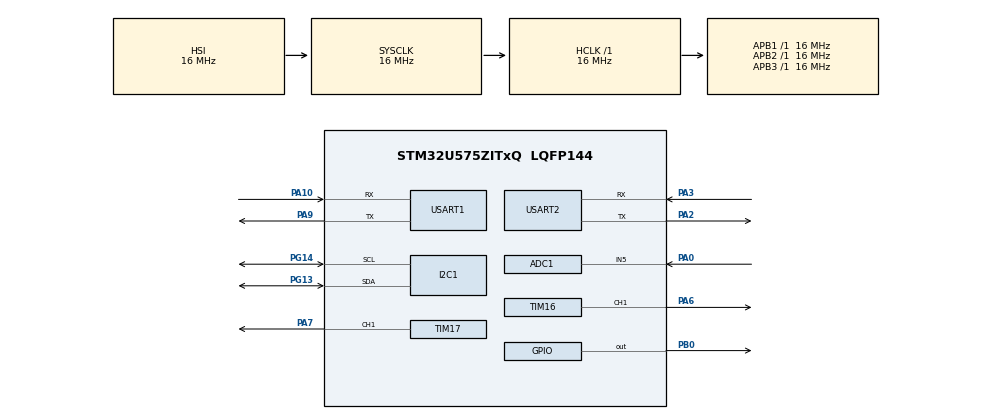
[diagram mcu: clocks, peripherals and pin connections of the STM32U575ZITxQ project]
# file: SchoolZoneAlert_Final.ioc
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ADC1.ContinuousConvMode=ENABLE
ADC1.NbrOfConversion=1
ADC1.Resolution=ADC_RESOLUTION_12B
ADC1.master=1
CORTEX_M33_NS.userName=CORTEX_M33
GPDMA1.RECAP_GPDMACH0=USART1_RX
GPDMA1.RECAP_GPDMACH1=USART1_TX
I2C1.Timing=0x00303D5B
Mcu.Family=STM32U5
Mcu.Name=STM32U575ZITxQ
Mcu.Package=LQFP144
NETXDUO.NX_DRIVER_DEFERRED_PROCESSING=true
NVIC.I2C1_ER_IRQn=true\:0\:0\:false\:false\:true\:false\:true\:true\:true
NVIC.I2C1_EV_IRQn=true\:0\:0\:false\:false\:true\:false\:true\:true\:true
NVIC.PriorityGroup=NVIC_PRIORITYGROUP_4
NVIC.TIM6_IRQn=true\:15\:0\:false\:false\:true\:false\:false\:true\:true
NVIC.TimeBase=TIM6_IRQn
NVIC.TimeBaseIP=TIM6
NVIC.USART1_IRQn=true\:0\:0\:false\:false\:true\:false\:true\:true\:true
NVIC.USART2_IRQn=true\:0\:0\:false\:false\:true\:false\:true\:true\:true
PA0.Mode=IN5-Single-Ended
PA0.Signal=ADC1_IN5
PA10.Mode=Asynchronous
PA10.Signal=USART1_RX
PA2.Mode=Asynchronous
PA2.Signal=USART2_TX
PA3.Mode=Asynchronous
PA3.Signal=USART2_RX
PA6.Signal=S_TIM16_CH1
PA7.Signal=S_TIM17_CH1
PA9.Mode=Asynchronous
PA9.Signal=USART1_TX
PB0.Signal=GPIO_Output
PG13.Mode=I2C
PG13.Signal=I2C1_SDA
PG14.Mode=I2C
PG14.Signal=I2C1_SCL
PWR.PowerMode=PWR_SMPS_SUPPLY
ProjectManager.HeapSize=0x200
ProjectManager.StackSize=0x400
ProjectManager.TargetToolchain=STM32CubeIDE
RCC.ADCFreq_Value=16000000
RCC.AHBFreq_Value=16000000
RCC.APB1Freq_Value=16000000
RCC.APB1TimFreq_Value=16000000
RCC.APB2Freq_Value=16000000
RCC.APB2TimFreq_Value=16000000
RCC.APB3Freq_Value=16000000
RCC.CortexFreq_Value=16000000
RCC.EPOD_VALUE=4000000
RCC.HCLKFreq_Value=16000000
RCC.HSE_VALUE=16000000
RCC.HSI48_VALUE=48000000
RCC.HSI_VALUE=16000000
RCC.I2C1CLockSelection=RCC_I2C1CLKSOURCE_SYSCLK
RCC.LSE_VALUE=32768
RCC.LSIDIV_VALUE=32000
RCC.MSI_VALUE=4000000
RCC.SYSCLKFreq_VALUE=16000000
RCC.SYSCLKSource=RCC_SYSCLKSOURCE_HSI
RCC.USART1CLockSelectionVirtual=RCC_USART1CLKSOURCE_HSI
RCC.USBFreq_Value=48000000
RCC.VCOOutputFreq_Value=516000000
SH.S_TIM16_CH1.0=TIM16_CH1,PWM Generation1 CH1
SH.S_TIM17_CH1.0=TIM17_CH1,PWM Generation1 CH1
TIM16.Channel=TIM_CHANNEL_1
TIM17.Channel=TIM_CHANNEL_1
USART1.VirtualMode-Asynchronous=VM_ASYNC
USART2.VirtualMode-Asynchronous=VM_ASYNC
VP_CRC_VS_CRC.Mode=CRC_Activate
VP_GPDMA1_VS_GPDMACH0.Mode=SIMPLEREQUEST_GPDMACH0
VP_GPDMA1_VS_GPDMACH1.Mode=SIMPLEREQUEST_GPDMACH1
VP_ICACHE_VS_ENABLE_ICACHE_MEMORY.Mode=Memoryregions
VP_ICACHE_VS_ICACHE.Mode=DirectMappedCache
VP_LPBAMQUEUE_VS_QUEUE.Mode=QUEUEMODE
VP_MEMORYMAP_VS_MEMORYMAP.Mode=CurAppReg
VP_NETXDUO_VS_CustomOoInterface.Mode=Custom_Interface
VP_NETXDUO_VS_NXOoCore.Mode=NX_Core
VP_PWR_VS_LPOM.Mode=PowerOptimisation
VP_PWR_VS_SECSignals.Mode=Security/Privilege
VP_PWR_Vdda.Mode=isolationVdda
VP_SYS_VS_tim6.Mode=TIM6
VP_THREADX_VS_RTOSJjThreadXJjCoreJjDefault.Mode=Core_Default
VP_TIM16_VS_ClockSourceINT.Mode=Enable_Timer
VP_TIM17_VS_ClockSourceINT.Mode=Enable_Timer
board=custom

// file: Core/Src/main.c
/* USER CODE BEGIN Header */
/**
  ******************************************************************************
  * @file           : main.c
  * @brief          : Main program body
  ******************************************************************************
  */
/* USER CODE END Header */
#include "app_threadx.h"
#include "main.h"
#include "adc.h"
#include "crc.h"
#include "gpdma.h"
#include "i2c.h"
#include "icache.h"
#include "memorymap.h"
#include "tim.h"
#include "usart.h"
#include "gpio.h"
#include "network.h"
#include "ec25.h"
#include <stdio.h>

/* USER CODE BEGIN PV */
uint32_t adc_raw_value = 0;
uint32_t high_to_low_counter = 0;
uint8_t last_adc_state = 0;  // 0 = LOW, 1 = HIGH
const uint32_t ADC_THRESHOLD = 2000;  // Tune threshold per voltage input
/* USER CODE END PV */

void SystemClock_Config(void);
static void SystemPower_Config(void);

/* USER CODE BEGIN 0 */

/* Redirect printf to USART1 */
int _write(int file, char *ptr, int len)
{
  HAL_UART_Transmit(&huart1, (uint8_t *)ptr, len, HAL_MAX_DELAY);
  return len;
}
/* USER CODE END 0 */

int main(void)
{

  /* MCU Configuration--------------------------------------------------------*/

  /* Reset of all peripherals, Initializes the Flash interface and the Systick. */
  HAL_Init();

  /* Configure the System Power */
  SystemPower_Config();

  /* Configure the system clock */
  SystemClock_Config();

  /* Initialize all configured peripherals */
  MX_GPIO_Init();
  MX_GPDMA1_Init();
  MX_USART1_UART_Init();
  MX_CRC_Init();
  MX_I2C1_Init();
  MX_TIM16_Init();
  MX_TIM17_Init();
  MX_ICACHE_Init();
  MX_ADC1_Init();
  MX_USART2_UART_Init();
  /* USER CODE BEGIN 2 */
  HAL_Delay(100);  // COM port init delay for USB VCP

  printf("✅ System initialised.\r\n");

  printf("🌐 Network stack initialised.\r\n");

  char debug_msg[] = "USART test message BEFORE ThreadX start\r\n";
  HAL_UART_Transmit(&huart1, (uint8_t *)debug_msg, sizeof(debug_msg) - 1, HAL_MAX_DELAY);

  HAL_Delay(100);

  // Now start ThreadX
  //MX_ThreadX_Init();

  Init_EC25();            // Custom function to send AT+CFUN, AT+CGDCONT, etc.
  Send_UDP_Trigger();

  /* Infinite loop */
  /* USER CODE BEGIN WHILE */
  while (1)
  {
    HAL_ADC_Start(&hadc1);
    if (HAL_ADC_PollForConversion(&hadc1, HAL_MAX_DELAY) == HAL_OK)
    {
      adc_raw_value = HAL_ADC_GetValue(&hadc1);
      uint8_t current_adc_state = (adc_raw_value > ADC_THRESHOLD) ? 1 : 0;

      if (last_adc_state == 1 && current_adc_state == 0)
      {
        high_to_low_counter++;
        printf("⚠️ HIGH to LOW transition! Count = %lu\r\n", high_to_low_counter);
      }

      last_adc_state = current_adc_state;
    }

    HAL_Delay(200);  // Tune based on expected signal frequency
  }
    /* USER CODE END WHILE */

    /* USER CODE BEGIN 3 */
  // Never reached
  return 0;
  /* USER CODE END 3 */
}

void SystemClock_Config(void)
{
  RCC_OscInitTypeDef RCC_OscInitStruct = {0};
  RCC_ClkInitTypeDef RCC_ClkInitStruct = {0};

  /** Configure the main internal regulator output voltage
  */
  if (HAL_PWREx_ControlVoltageScaling(PWR_REGULATOR_VOLTAGE_SCALE4) != HAL_OK)
  {
    Error_Handler();
  }

  /** Initializes the CPU, AHB and APB buses clocks
  */
  RCC_OscInitStruct.OscillatorType = RCC_OSCILLATORTYPE_HSI;
  RCC_OscInitStruct.HSIState = RCC_HSI_ON;
  RCC_OscInitStruct.HSICalibrationValue = RCC_HSICALIBRATION_DEFAULT;
  RCC_OscInitStruct.PLL.PLLState = RCC_PLL_NONE;
  if (HAL_RCC_OscConfig(&RCC_OscInitStruct) != HAL_OK)
  {
    Error_Handler();
  }

  /** Initializes the CPU, AHB and APB buses clocks
  */
  RCC_ClkInitStruct.ClockType = RCC_CLOCKTYPE_HCLK|RCC_CLOCKTYPE_SYSCLK
                              |RCC_CLOCKTYPE_PCLK1|RCC_CLOCKTYPE_PCLK2
                              |RCC_CLOCKTYPE_PCLK3;
  RCC_ClkInitStruct.SYSCLKSource = RCC_SYSCLKSOURCE_HSI;
  RCC_ClkInitStruct.AHBCLKDivider = RCC_SYSCLK_DIV1;
  RCC_ClkInitStruct.APB1CLKDivider = RCC_HCLK_DIV1;
  RCC_ClkInitStruct.APB2CLKDivider = RCC_HCLK_DIV1;
  RCC_ClkInitStruct.APB3CLKDivider = RCC_HCLK_DIV1;

  if (HAL_RCC_ClockConfig(&RCC_ClkInitStruct, FLASH_LATENCY_1) != HAL_OK)
  {
    Error_Handler();
  }
}

/**
  * @brief Power Configuration
  * @retval None
  */
static void SystemPower_Config(void)
{
  HAL_PWREx_EnableVddIO2();

  /*
   * Switch to SMPS regulator instead of LDO
   */
  if (HAL_PWREx_ConfigSupply(PWR_SMPS_SUPPLY) != HAL_OK)
  {
    Error_Handler();
  }
}

void HAL_TIM_PeriodElapsedCallback(TIM_HandleTypeDef *htim)
{
  if (htim->Instance == TIM6) {
    HAL_IncTick();
  }
}

void Error_Handler(void)
{
  __disable_irq();
  while (1)
  {
  }
}
